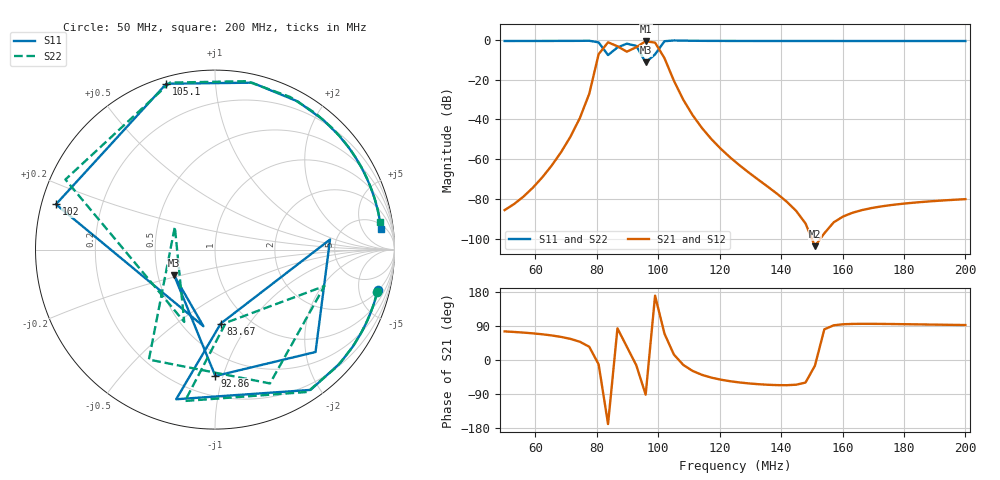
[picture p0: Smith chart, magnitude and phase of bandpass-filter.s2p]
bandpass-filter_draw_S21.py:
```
## EMerge simulation - S21
#	transfer from 'PortIn' -> 'PortOut'
#
#
import emerge as em
import numpy as np
from emerge.plot import smith, plot_sp

from basicemergesolverhelperpackage import EMergeHelperFunctions
from basicemergesolverhelperpackage.EMergeConstants import *

simulationObj = em.Simulation("bandpass-filter", load_file=True)
simulationResult = simulationObj.data.mw
helperFunctionsObj = EMergeHelperFunctions(simulationObj)

###############################################################################
# PORT NAME AND THEIR NUMBERS LIST
###############################################################################
portNamesAndNumbersList = {}
portNamesAndNumbersList["PortIn"] = 1
portNamesAndNumbersList["PortOut"] = 2

###############################################################################
# PLOT S DATA
###############################################################################
sourcePortName = 'PortIn'
targetPortName = 'PortOut'
sourcePortNumber = portNamesAndNumbersList[sourcePortName]
targetPortNumber = portNamesAndNumbersList[targetPortName]

# Generate touchstone file available since EMerge 2.5.5
simulationResult.scalar.grid.export_touchstone("bandpass-filter.s2p", Z0ref=50, format="RI", funit="GHz")

helperFunctionsObj.exportCSV_SParam("bandpass-filter_s11.csv", sourcePortNumber, sourcePortNumber)
helperFunctionsObj.exportCSV_SParam("bandpass-filter_s21.csv", sourcePortNumber, targetPortNumber)
helperFunctionsObj.plotSParamUsingPortNumbers(sourcePortNumber, targetPortNumber, plotS11=True)
```
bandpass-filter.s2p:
! Generated by EMerge - 2-port S-parameters
! File generated: 2026-06-20 12:59
# GHz S RI R 50
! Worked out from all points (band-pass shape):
!   50 points, 50 MHz to 200 MHz, reference 50 ohm
!   highest |S21| = -0.71 dB at 95.92 MHz (marker M1); lowest = -103.7 dB at 151 MHz (marker M2)
!   |S21| within 3 dB of the highest: 82.41 MHz to 87.25 MHz (4.841 MHz wide, 5.71 % of centre); 92.86 MHz to 99.88 MHz (7.026 MHz wide, 7.29 % of centre)
!   lowest |S11| = -11.4 dB at 95.92 MHz (marker M3), VSWR 1.74, Z = 30.4 - j9.4 ohm
!   |S11| at or under -10 dB: 95.41 MHz to 96.96 MHz (1.556 MHz wide, 1.62 % of centre)
!   |S22| runs from -11.8 to -0.3 dB; largest |S21 - S12| = 2e-05
!   S11 on the Smith chart (normalised r, x): 50 MHz: 2.13, -7.56; 83.67 MHz: 0.75, -0.74; 92.86 MHz: 0.34, -0.94; 102 MHz: 0.04, +0.14; 105.1 MHz: 0.03, +0.75; 200 MHz: 7, +12
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0.05  0.9066 -0.2259  1.32e-05 5.11e-05  1.32e-05 5.11e-05  0.9036 -0.2374
0.06836735  0.8189 -0.4562  0.000728 0.00131  0.000728 0.00131  0.8066 -0.4778
0.08061224  -0.2161 -0.8338  0.4275 -0.0879  0.4275 -0.0879  -0.167 -0.8433
0.08367347  0.032 -0.4121  -0.8496 -0.164  -0.8496 -0.164  0.0602 -0.4078
0.09285714  0.00171 -0.7043  0.6335 -0.1551  0.6335 -0.155  -0.3683 -0.6128
0.09591837  -0.2277 -0.1437  -0.0211 -0.9209  -0.021 -0.9209  -0.2238 0.1269
0.1020408  -0.8862 0.2522  0.1216 0.3244  0.1216 0.3244  -0.8333 0.3905
0.105102  -0.271 0.924  0.091 0.0234  0.091 0.0234  -0.2509 0.9303
0.1265306  0.8144 0.4599  0.000357 -0.000601  0.000357 -0.000601  0.7887 0.5056
0.1510204  0.8977 0.254  6.32e-06 -1.7e-06  6.29e-06 -1.7e-06  0.8855 0.2969
0.2  0.9254 0.1122  -3.87e-06 9.93e-05  -3.9e-06 9.93e-05  0.9201 0.1535
